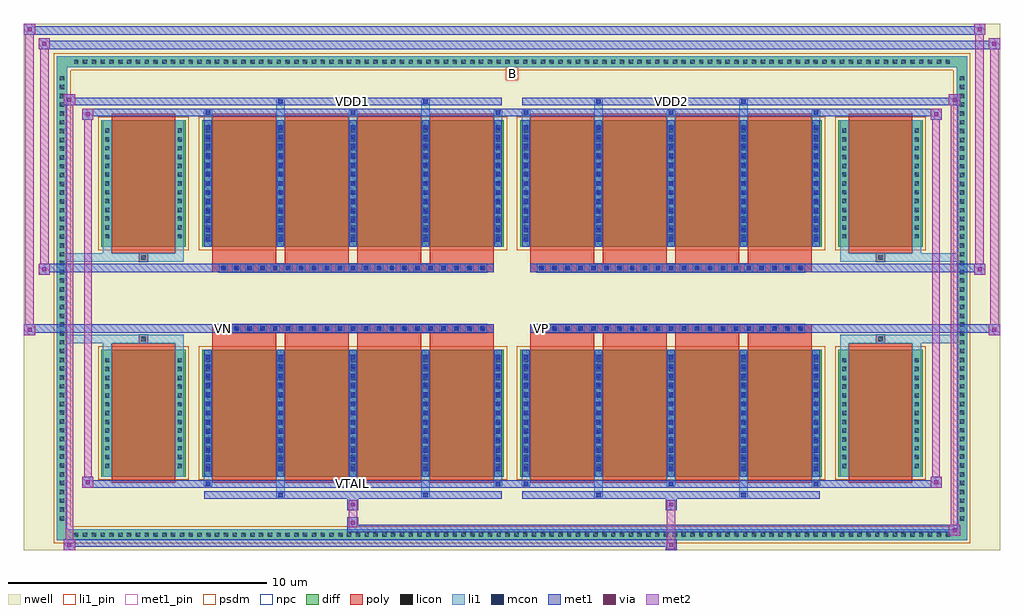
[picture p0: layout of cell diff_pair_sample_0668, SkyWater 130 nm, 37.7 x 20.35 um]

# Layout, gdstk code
import gdstk
lib = gdstk.Library(unit=1e-6, precision=5e-09)
def R(c, l, rs):  # rectangles x0, y0, x1, y1
    for r in rs: c.add(gdstk.rectangle(r[:2], r[2:], *l))
def A(c, l, x, y, w, h, nx, ny, dx, dy):  # array of equal rectangles
    R(c, l, [(x+i*dx, y+j*dy, x+i*dx+w, y+j*dy+h) for i in range(nx) for j in range(ny)])
def P(c, l, *ps):  # polygons
    for p in ps: c.add(gdstk.Polygon(p, *l))
nwell = (64, 20)
diff = (65, 20)
poly = (66, 20)
licon = (66, 44)
li1_pin = (67, 16)
li1 = (67, 20)
mcon = (67, 44)
met1_pin = (68, 16)
met1 = (68, 20)
via = (68, 44)
met2 = (69, 20)
psdm = (94, 20)
npc = (95, 20)

diff_pair_sample_0668 = lib.new_cell('diff_pair_sample_0668')
R(diff_pair_sample_0668, nwell, [(-18.85,-9.74,18.85,10.61), (-16.17,-7.93,-0.01,-0.805), (0.01,-7.93,16.17,-0.805), (-16.17,0.805,-0.01,7.93), (0.01,0.805,16.17,7.93)])
A(diff_pair_sample_0668, diff, -17.035, -9.34, 0.41, 0.41, 100, 2, 0.34, 18.27)
A(diff_pair_sample_0668, diff, -17.58, -8.705, 0.41, 0.41, 1, 51, 0, 0.34)
A(diff_pair_sample_0668, diff, 17.17, -8.705, 0.41, 0.41, 1, 51, 0, 0.34)
R(diff_pair_sample_0668, diff, [(-17.035,-9.34,17.035,-8.93), (-17.58,-8.705,-17.17,8.705), (17.17,-8.705,17.58,8.705), (-15.86,-6.885,-12.61,-1.985), (-11.97,-6.885,-0.32,-1.985), (0.32,-6.885,11.97,-1.985), (12.61,-6.885,15.86,-1.985), (-15.86,1.985,-12.61,6.885), (-11.97,1.985,-0.32,6.885), (0.32,1.985,11.97,6.885), (12.61,1.985,15.86,6.885), (-17.035,8.93,17.035,9.34)])
P(diff_pair_sample_0668, diff, [(17.58,9.34),(-17.58,9.34),(-17.58,-8.93),(-17.17,-8.93),(-17.17,8.93),(17.17,8.93),(17.17,-8.93),(-17.17,-8.93),(-17.58,-8.93),(-17.58,-9.34),(17.58,-9.34)])
A(diff_pair_sample_0668, poly, -11.58, -7.135, 2.47, 5.4, 4, 2, 2.8, 8.87)
A(diff_pair_sample_0668, poly, 0.71, -7.135, 2.47, 5.4, 4, 2, 2.8, 8.87)
A(diff_pair_sample_0668, poly, -11.58, -1.735, 2.47, 0.4, 4, 2, 2.8, 3.07)
A(diff_pair_sample_0668, poly, 0.71, -1.735, 2.47, 0.4, 4, 2, 2.8, 3.07)
A(diff_pair_sample_0668, poly, -11.31, -1.335, 0.33, 0.33, 21, 2, 0.5, 2.34)
A(diff_pair_sample_0668, poly, 0.98, -1.335, 0.33, 0.33, 21, 2, 0.5, 2.34)
R(diff_pair_sample_0668, poly, [(-15.47,-7.135,-13,-1.735), (13,-7.135,15.47,-1.735), (-14.4,-1.735,-14.07,-1.405), (-14.4,-1.735,-14.07,-1.405), (14.07,-1.735,14.4,-1.405), (14.07,-1.735,14.4,-1.405), (-11.58,-1.335,-0.71,-1.005), (0.71,-1.335,11.58,-1.005), (-11.58,1.005,-0.71,1.335), (0.71,1.005,11.58,1.335), (-14.4,1.405,-14.07,1.735), (-14.4,1.405,-14.07,1.735), (14.07,1.405,14.4,1.735), (14.07,1.405,14.4,1.735), (-15.47,1.735,-13,7.135), (13,1.735,15.47,7.135)])
A(diff_pair_sample_0668, licon, -16.915, -9.22, 0.17, 0.17, 100, 2, 0.34, 18.27)
A(diff_pair_sample_0668, licon, -17.46, -8.585, 0.17, 0.17, 1, 51, 0, 0.34)
A(diff_pair_sample_0668, licon, 17.29, -8.585, 0.17, 0.17, 1, 51, 0, 0.34)
A(diff_pair_sample_0668, licon, -15.72, -6.56, 0.17, 0.17, 1, 13, 0, 0.34)
A(diff_pair_sample_0668, licon, -12.92, -6.56, 0.17, 0.17, 1, 13, 0, 0.34)
A(diff_pair_sample_0668, licon, -11.83, -6.56, 0.17, 0.17, 5, 13, 2.8, 0.34)
A(diff_pair_sample_0668, licon, 0.46, -6.56, 0.17, 0.17, 5, 13, 2.8, 0.34)
A(diff_pair_sample_0668, licon, 12.75, -6.56, 0.17, 0.17, 1, 13, 0, 0.34)
A(diff_pair_sample_0668, licon, 15.55, -6.56, 0.17, 0.17, 1, 13, 0, 0.34)
A(diff_pair_sample_0668, licon, -11.23, -1.255, 0.17, 0.17, 21, 2, 0.5, 2.34)
A(diff_pair_sample_0668, licon, 1.06, -1.255, 0.17, 0.17, 21, 2, 0.5, 2.34)
A(diff_pair_sample_0668, licon, -15.72, 2.31, 0.17, 0.17, 1, 13, 0, 0.34)
A(diff_pair_sample_0668, licon, -12.92, 2.31, 0.17, 0.17, 1, 13, 0, 0.34)
A(diff_pair_sample_0668, licon, -11.83, 2.31, 0.17, 0.17, 5, 13, 2.8, 0.34)
A(diff_pair_sample_0668, licon, 0.46, 2.31, 0.17, 0.17, 5, 13, 2.8, 0.34)
A(diff_pair_sample_0668, licon, 12.75, 2.31, 0.17, 0.17, 1, 13, 0, 0.34)
A(diff_pair_sample_0668, licon, 15.55, 2.31, 0.17, 0.17, 1, 13, 0, 0.34)
R(diff_pair_sample_0668, licon, [(-14.32,-1.655,-14.15,-1.485), (14.15,-1.655,14.32,-1.485), (-14.32,1.485,-14.15,1.655), (14.15,1.485,14.32,1.655)])
R(diff_pair_sample_0668, li1_pin, [(-0.25,8.43,0.25,8.93)])
A(diff_pair_sample_0668, li1, -16.995, -9.3, 0.33, 0.33, 100, 2, 0.34, 18.27)
A(diff_pair_sample_0668, li1, -17.54, -8.665, 0.33, 0.33, 1, 51, 0, 0.34)
A(diff_pair_sample_0668, li1, 17.21, -8.665, 0.33, 0.33, 1, 51, 0, 0.34)
A(diff_pair_sample_0668, li1, -11.91, -7.26, 0.33, 0.375, 3, 2, 5.6, 14.145)
A(diff_pair_sample_0668, li1, -11.83, -7.26, 0.17, 0.17, 3, 2, 5.6, 14.35)
A(diff_pair_sample_0668, li1, 0.38, -7.26, 0.33, 0.375, 3, 2, 5.6, 14.145)
A(diff_pair_sample_0668, li1, 0.46, -7.26, 0.17, 0.17, 3, 2, 5.6, 14.35)
A(diff_pair_sample_0668, li1, -11.91, -6.885, 0.33, 4.9, 5, 2, 2.8, 8.87)
A(diff_pair_sample_0668, li1, 0.38, -6.885, 0.33, 4.9, 5, 2, 2.8, 8.87)
A(diff_pair_sample_0668, li1, -11.83, -6.68, 0.17, 0.17, 5, 13, 2.8, 0.36)
A(diff_pair_sample_0668, li1, -11.83, -6.68, 0.17, 4.49, 5, 2, 2.8, 8.87)
A(diff_pair_sample_0668, li1, 0.46, -6.68, 0.17, 0.17, 5, 13, 2.8, 0.36)
A(diff_pair_sample_0668, li1, 0.46, -6.68, 0.17, 4.49, 5, 2, 2.8, 8.87)
A(diff_pair_sample_0668, li1, -15.8, -6.64, 0.33, 0.33, 1, 13, 0, 0.34)
A(diff_pair_sample_0668, li1, -13, -6.64, 0.33, 0.33, 1, 13, 0, 0.34)
A(diff_pair_sample_0668, li1, -11.91, -6.64, 0.33, 0.33, 5, 13, 2.8, 0.34)
A(diff_pair_sample_0668, li1, 0.38, -6.64, 0.33, 0.33, 5, 13, 2.8, 0.34)
A(diff_pair_sample_0668, li1, 12.67, -6.64, 0.33, 0.33, 1, 13, 0, 0.34)
A(diff_pair_sample_0668, li1, 15.47, -6.64, 0.33, 0.33, 1, 13, 0, 0.34)
A(diff_pair_sample_0668, li1, -11.31, -1.335, 0.33, 0.33, 21, 2, 0.5, 2.34)
A(diff_pair_sample_0668, li1, 0.98, -1.335, 0.33, 0.33, 21, 2, 0.5, 2.34)
A(diff_pair_sample_0668, li1, -11.83, 2.19, 0.17, 0.17, 5, 13, 2.8, 0.36)
A(diff_pair_sample_0668, li1, 0.46, 2.19, 0.17, 0.17, 5, 13, 2.8, 0.36)
A(diff_pair_sample_0668, li1, -15.8, 2.23, 0.33, 0.33, 1, 13, 0, 0.34)
A(diff_pair_sample_0668, li1, -13, 2.23, 0.33, 0.33, 1, 13, 0, 0.34)
A(diff_pair_sample_0668, li1, -11.91, 2.23, 0.33, 0.33, 5, 13, 2.8, 0.34)
A(diff_pair_sample_0668, li1, 0.38, 2.23, 0.33, 0.33, 5, 13, 2.8, 0.34)
A(diff_pair_sample_0668, li1, 12.67, 2.23, 0.33, 0.33, 1, 13, 0, 0.34)
A(diff_pair_sample_0668, li1, 15.47, 2.23, 0.33, 0.33, 1, 13, 0, 0.34)
R(diff_pair_sample_0668, li1, [(-17.58,-9.34,-17.17,-8.93), (-17.58,-9.34,-17.17,-8.93), (-17.17,-9.34,17.17,-8.93), (17.17,-9.34,17.58,-8.93), (17.17,-9.34,17.58,-8.93), (-17.58,-8.93,-17.17,8.93), (17.17,-8.93,17.58,8.93), (-9.11,-7.69,-8.78,-6.885), (-9.03,-7.69,-8.86,-7.52), (-3.51,-7.69,-3.18,-6.885), (-3.43,-7.69,-3.26,-7.52), (3.18,-7.69,3.51,-6.885), (3.26,-7.69,3.43,-7.52), (8.78,-7.69,9.11,-6.885), (8.86,-7.69,9.03,-7.52), (-15.8,-6.885,-15.47,-1.985), (-13,-6.885,-12.67,-1.985), (12.67,-6.885,13,-1.985), (15.47,-6.885,15.8,-1.985), (-15.8,-1.985,-15.47,-1.405), (-13,-1.985,-12.67,-1.405), (12.67,-1.985,13,-1.405), (15.47,-1.985,15.8,-1.405), (-17.58,-1.735,-14.4,-1.405), (-15.8,-1.735,-14.4,-1.405), (-14.4,-1.735,-14.07,-1.405), (-14.07,-1.735,-12.67,-1.405), (12.67,-1.735,14.07,-1.405), (14.07,-1.735,14.4,-1.405), (14.07,-1.735,17.58,-1.405), (14.4,-1.735,15.8,-1.405), (-17.58,1.405,-14.4,1.735), (-15.8,1.405,-14.4,1.735), (-15.8,1.405,-15.47,1.985), (-14.4,1.405,-14.07,1.735), (-14.07,1.405,-12.67,1.735), (-13,1.405,-12.67,1.985), (12.67,1.405,14.07,1.735), (12.67,1.405,13,1.985), (14.07,1.405,14.4,1.735), (14.07,1.405,17.58,1.735), (14.4,1.405,15.8,1.735), (15.47,1.405,15.8,1.985), (-15.8,1.985,-15.47,6.885), (-13,1.985,-12.67,6.885), (12.67,1.985,13,6.885), (15.47,1.985,15.8,6.885), (-9.11,6.885,-8.78,7.69), (-3.51,6.885,-3.18,7.69), (3.18,6.885,3.51,7.69), (8.78,6.885,9.11,7.69), (-9.03,7.52,-8.86,7.69), (-3.43,7.52,-3.26,7.69), (3.26,7.52,3.43,7.69), (8.86,7.52,9.03,7.69), (-17.58,8.93,-17.17,9.34), (-17.58,8.93,-17.17,9.34), (-17.17,8.93,17.17,9.34), (17.17,8.93,17.58,9.34), (17.17,8.93,17.58,9.34)])
A(diff_pair_sample_0668, mcon, -11.83, -7.26, 0.17, 0.17, 3, 2, 5.6, 14.35)
A(diff_pair_sample_0668, mcon, 0.46, -7.26, 0.17, 0.17, 3, 2, 5.6, 14.35)
A(diff_pair_sample_0668, mcon, -11.83, -6.68, 0.17, 0.17, 5, 13, 2.8, 0.36)
A(diff_pair_sample_0668, mcon, 0.46, -6.68, 0.17, 0.17, 5, 13, 2.8, 0.36)
A(diff_pair_sample_0668, mcon, -11.23, -1.255, 0.17, 0.17, 21, 2, 0.5, 2.34)
A(diff_pair_sample_0668, mcon, 1.06, -1.255, 0.17, 0.17, 21, 2, 0.5, 2.34)
A(diff_pair_sample_0668, mcon, -11.83, 2.19, 0.17, 0.17, 5, 13, 2.8, 0.36)
A(diff_pair_sample_0668, mcon, 0.46, 2.19, 0.17, 0.17, 5, 13, 2.8, 0.36)
R(diff_pair_sample_0668, mcon, [(-9.03,-7.69,-8.86,-7.52), (-3.43,-7.69,-3.26,-7.52), (3.26,-7.69,3.43,-7.52), (8.86,-7.69,9.03,-7.52), (-9.03,7.52,-8.86,7.69), (-3.43,7.52,-3.26,7.69), (3.26,7.52,3.43,7.69), (8.86,7.52,9.03,7.69)])
R(diff_pair_sample_0668, met1_pin, [(-6.28,-7.3,-6.01,-7.03), (-11.28,-1.295,-11.01,-1.025), (1.01,-1.295,1.28,-1.025), (-6.28,7.48,-6.01,7.75), (6.01,7.48,6.28,7.75)])
A(diff_pair_sample_0668, met1, -11.89, -7.32, 0.29, 0.29, 3, 2, 5.6, 14.35)
A(diff_pair_sample_0668, met1, 0.4, -7.32, 0.29, 0.29, 3, 2, 5.6, 14.35)
A(diff_pair_sample_0668, met1, -11.89, -6.885, 0.29, 4.9, 5, 2, 2.8, 8.87)
A(diff_pair_sample_0668, met1, 0.4, -6.885, 0.29, 4.9, 5, 2, 2.8, 8.87)
A(diff_pair_sample_0668, met1, -11.89, -6.74, 0.29, 0.29, 5, 13, 2.8, 0.36)
A(diff_pair_sample_0668, met1, 0.4, -6.74, 0.29, 0.29, 5, 13, 2.8, 0.36)
A(diff_pair_sample_0668, met1, -11.29, -1.315, 0.29, 0.29, 21, 2, 0.5, 2.34)
A(diff_pair_sample_0668, met1, 1, -1.315, 0.29, 0.29, 21, 2, 0.5, 2.34)
A(diff_pair_sample_0668, met1, -11.89, 2.13, 0.29, 0.29, 5, 13, 2.8, 0.36)
A(diff_pair_sample_0668, met1, 0.4, 2.13, 0.29, 0.29, 5, 13, 2.8, 0.36)
R(diff_pair_sample_0668, met1, [(-17.31,-9.74,-16.88,-9.31), (5.93,-9.74,6.36,-9.31), (-17.31,-9.6,6.36,-9.31), (16.88,-9.17,17.31,-8.74), (-6.36,-9.03,17.31,-8.74), (-6.36,-8.89,-5.93,-8.46), (-6.36,-8.18,-5.93,-7.75), (5.93,-8.18,6.36,-7.75), (-11.89,-7.75,-0.4,-7.46), (-9.09,-7.75,-8.8,-7.46), (-3.49,-7.75,-3.2,-7.46), (0.4,-7.75,11.89,-7.46), (3.2,-7.75,3.49,-7.46), (8.8,-7.75,9.09,-7.46), (-16.6,-7.32,-16.17,-6.89), (-16.6,-7.32,-11.89,-7.03), (-11.89,-7.32,-0.4,-7.03), (-0.4,-7.32,0.4,-7.03), (0.4,-7.32,11.89,-7.03), (11.89,-7.32,16.6,-7.03), (16.17,-7.32,16.6,-6.89), (-18.85,-1.435,-18.42,-1.005), (18.42,-1.435,18.85,-1.005), (-18.85,-1.335,-0.71,-1.005), (-11.58,-1.335,-0.71,-1.005), (0.71,-1.335,11.58,-1.005), (0.71,-1.335,18.85,-1.005), (-18.28,0.905,-17.85,1.335), (17.85,0.905,18.28,1.335), (-18.28,1.005,-11.58,1.335), (-11.58,1.005,-0.71,1.335), (0.71,1.005,11.58,1.335), (11.58,1.005,18.28,1.335), (-16.6,6.89,-16.17,7.32), (16.17,6.89,16.6,7.32), (-16.6,7.03,-11.89,7.32), (-11.89,7.03,-0.4,7.32), (-0.4,7.03,0.4,7.32), (0.4,7.03,11.89,7.32), (11.89,7.03,16.6,7.32), (-17.31,7.46,-16.88,7.89), (-17.31,7.46,-11.89,7.75), (-11.89,7.46,-0.4,7.75), (-9.09,7.46,-8.8,7.75), (-3.49,7.46,-3.2,7.75), (0.4,7.46,11.89,7.75), (3.2,7.46,3.49,7.75), (8.8,7.46,9.09,7.75), (11.89,7.46,17.31,7.75), (16.88,7.46,17.31,7.89), (-18.28,9.61,-17.85,10.04), (-18.28,9.61,-16.17,9.94), (-16.17,9.61,16.17,9.94), (16.17,9.61,18.85,9.94), (18.42,9.61,18.85,10.04), (-18.85,10.18,-18.42,10.61), (-18.85,10.18,-16.17,10.51), (-16.17,10.18,16.17,10.51), (16.17,10.18,18.28,10.51), (17.85,10.18,18.28,10.61)])
R(diff_pair_sample_0668, via, [(-17.17,-9.6,-17.02,-9.45), (6.07,-9.6,6.22,-9.45), (17.02,-9.03,17.17,-8.88), (-6.22,-8.75,-6.07,-8.6), (-6.22,-8.04,-6.07,-7.89), (6.07,-8.04,6.22,-7.89), (-16.46,-7.18,-16.31,-7.03), (16.31,-7.18,16.46,-7.03), (-18.71,-1.295,-18.56,-1.145), (18.56,-1.295,18.71,-1.145), (-18.14,1.045,-17.99,1.195), (17.99,1.045,18.14,1.195), (-16.46,7.03,-16.31,7.18), (16.31,7.03,16.46,7.18), (-17.17,7.6,-17.02,7.75), (17.02,7.6,17.17,7.75), (-18.14,9.75,-17.99,9.9), (18.56,9.75,18.71,9.9), (-18.71,10.32,-18.56,10.47), (17.99,10.32,18.14,10.47)])
R(diff_pair_sample_0668, met2, [(-17.31,-9.74,-16.88,-9.31), (-17.24,-9.74,-16.95,7.89), (-16.95,-9.74,-16.88,-9.31), (-17.26,-9.69,-16.93,-9.36), (5.98,-9.69,6.31,-9.36), (5.98,-9.36,6.31,-8.13), (16.88,-9.17,17.31,-8.74), (16.95,-9.17,17.24,7.89), (17.24,-9.17,17.31,-8.74), (16.93,-9.12,17.26,-8.79), (-6.31,-8.84,-5.98,-8.51), (-6.31,-8.51,-5.98,-8.13), (-6.31,-8.13,-5.98,-7.8), (5.98,-8.13,6.31,-7.8), (-16.6,-7.32,-16.17,-6.89), (-16.53,-7.32,-16.24,7.32), (-16.24,-7.32,-16.17,-6.89), (16.17,-7.32,16.6,-6.89), (16.24,-7.32,16.53,7.32), (16.53,-7.32,16.6,-6.89), (-16.55,-7.27,-16.22,-6.94), (16.22,-7.27,16.55,-6.94), (-18.85,-1.435,-18.42,-1.005), (-18.8,-1.435,-18.47,10.61), (-18.47,-1.435,-18.42,-1.005), (18.42,-1.435,18.85,-1.005), (18.47,-1.435,18.8,10.04), (18.8,-1.435,18.85,-1.005), (-18.8,-1.385,-18.47,-1.055), (18.47,-1.385,18.8,-1.055), (-18.28,0.905,-17.85,1.335), (-18.23,0.905,-17.9,10.04), (-17.9,0.905,-17.85,1.335), (17.85,0.905,18.28,1.335), (17.9,0.905,18.23,10.61), (18.23,0.905,18.28,1.335), (-18.23,0.955,-17.9,1.285), (17.9,0.955,18.23,1.285), (-16.6,6.89,-16.17,7.32), (-16.24,6.89,-16.17,7.32), (16.17,6.89,16.6,7.32), (16.53,6.89,16.6,7.32), (-16.55,6.94,-16.22,7.27), (16.22,6.94,16.55,7.27), (-17.31,7.46,-16.88,7.89), (-16.95,7.46,-16.88,7.89), (16.88,7.46,17.31,7.89), (17.24,7.46,17.31,7.89), (-17.26,7.51,-16.93,7.84), (16.93,7.51,17.26,7.84), (-18.28,9.61,-17.85,10.04), (-17.9,9.61,-17.85,10.04), (18.42,9.61,18.85,10.04), (18.8,9.61,18.85,10.04), (-18.23,9.66,-17.9,9.99), (18.47,9.66,18.8,9.99), (-18.85,10.18,-18.42,10.61), (-18.47,10.18,-18.42,10.61), (17.85,10.18,18.28,10.61), (18.23,10.18,18.28,10.61), (-18.8,10.23,-18.47,10.56), (17.9,10.23,18.23,10.56)])
R(diff_pair_sample_0668, psdm, [(-15.99,-7.015,-12.48,-1.855), (-12.1,-7.015,-0.19,-1.855), (0.19,-7.015,12.1,-1.855), (12.48,-7.015,15.99,-1.855), (-15.99,1.855,-12.48,7.015), (-12.1,1.855,-0.19,7.015), (0.19,1.855,12.1,7.015), (12.48,1.855,15.99,7.015)])
P(diff_pair_sample_0668, psdm, [(17.71,9.47),(-17.71,9.47),(-17.71,-8.8),(-17.04,-8.8),(-17.04,8.8),(17.04,8.8),(17.04,-8.8),(-17.04,-8.8),(-17.71,-8.8),(-17.71,-9.47),(17.71,-9.47)])
A(diff_pair_sample_0668, npc, -11.33, -1.355, 0.37, 0.37, 21, 2, 0.5, 2.34)
A(diff_pair_sample_0668, npc, 0.96, -1.355, 0.37, 0.37, 21, 2, 0.5, 2.34)
R(diff_pair_sample_0668, npc, [(-14.42,-1.755,-14.05,-1.385), (14.05,-1.755,14.42,-1.385), (-11.33,-1.355,-10.46,-0.985), (-11.33,-1.355,-10.46,-0.985), (-10.83,-1.355,-9.96,-0.985), (-10.83,-1.355,-9.96,-0.985), (-10.33,-1.355,-9.46,-0.985), (-10.33,-1.355,-9.46,-0.985), (-9.83,-1.355,-8.96,-0.985), (-9.83,-1.355,-8.96,-0.985), (-9.33,-1.355,-8.46,-0.985), (-9.33,-1.355,-8.46,-0.985), (-8.83,-1.355,-7.96,-0.985), (-8.83,-1.355,-7.96,-0.985), (-8.33,-1.355,-7.46,-0.985), (-8.33,-1.355,-7.46,-0.985), (-7.83,-1.355,-6.96,-0.985), (-7.83,-1.355,-6.96,-0.985), (-7.33,-1.355,-6.46,-0.985), (-7.33,-1.355,-6.46,-0.985), (-6.83,-1.355,-5.96,-0.985), (-6.83,-1.355,-5.96,-0.985), (-6.33,-1.355,-5.46,-0.985), (-6.33,-1.355,-5.46,-0.985), (-5.83,-1.355,-4.96,-0.985), (-5.83,-1.355,-4.96,-0.985), (-5.33,-1.355,-4.46,-0.985), (-5.33,-1.355,-4.46,-0.985), (-4.83,-1.355,-3.96,-0.985), (-4.83,-1.355,-3.96,-0.985), (-4.33,-1.355,-3.46,-0.985), (-4.33,-1.355,-3.46,-0.985), (-3.83,-1.355,-2.96,-0.985), (-3.83,-1.355,-2.96,-0.985), (-3.33,-1.355,-2.46,-0.985), (-3.33,-1.355,-2.46,-0.985), (-2.83,-1.355,-1.96,-0.985), (-2.83,-1.355,-1.96,-0.985), (-2.33,-1.355,-1.46,-0.985), (-2.33,-1.355,-1.46,-0.985), (-1.83,-1.355,-0.96,-0.985), (-1.83,-1.355,-0.96,-0.985), (0.96,-1.355,1.83,-0.985), (0.96,-1.355,1.83,-0.985), (1.46,-1.355,2.33,-0.985), (1.46,-1.355,2.33,-0.985), (1.96,-1.355,2.83,-0.985), (1.96,-1.355,2.83,-0.985), (2.46,-1.355,3.33,-0.985), (2.46,-1.355,3.33,-0.985), (2.96,-1.355,3.83,-0.985), (2.96,-1.355,3.83,-0.985), (3.46,-1.355,4.33,-0.985), (3.46,-1.355,4.33,-0.985), (3.96,-1.355,4.83,-0.985), (3.96,-1.355,4.83,-0.985), (4.46,-1.355,5.33,-0.985), (4.46,-1.355,5.33,-0.985), (4.96,-1.355,5.83,-0.985), (4.96,-1.355,5.83,-0.985), (5.46,-1.355,6.33,-0.985), (5.46,-1.355,6.33,-0.985), (5.96,-1.355,6.83,-0.985), (5.96,-1.355,6.83,-0.985), (6.46,-1.355,7.33,-0.985), (6.46,-1.355,7.33,-0.985), (6.96,-1.355,7.83,-0.985), (6.96,-1.355,7.83,-0.985), (7.46,-1.355,8.33,-0.985), (7.46,-1.355,8.33,-0.985), (7.96,-1.355,8.83,-0.985), (7.96,-1.355,8.83,-0.985), (8.46,-1.355,9.33,-0.985), (8.46,-1.355,9.33,-0.985), (8.96,-1.355,9.83,-0.985), (8.96,-1.355,9.83,-0.985), (9.46,-1.355,10.33,-0.985), (9.46,-1.355,10.33,-0.985), (9.96,-1.355,10.83,-0.985), (9.96,-1.355,10.83,-0.985), (10.46,-1.355,11.33,-0.985), (10.46,-1.355,11.33,-0.985), (-11.33,0.985,-10.46,1.355), (-11.33,0.985,-10.46,1.355), (-10.83,0.985,-9.96,1.355), (-10.83,0.985,-9.96,1.355), (-10.33,0.985,-9.46,1.355), (-10.33,0.985,-9.46,1.355), (-9.83,0.985,-8.96,1.355), (-9.83,0.985,-8.96,1.355), (-9.33,0.985,-8.46,1.355), (-9.33,0.985,-8.46,1.355), (-8.83,0.985,-7.96,1.355), (-8.83,0.985,-7.96,1.355), (-8.33,0.985,-7.46,1.355), (-8.33,0.985,-7.46,1.355), (-7.83,0.985,-6.96,1.355), (-7.83,0.985,-6.96,1.355), (-7.33,0.985,-6.46,1.355), (-7.33,0.985,-6.46,1.355), (-6.83,0.985,-5.96,1.355), (-6.83,0.985,-5.96,1.355), (-6.33,0.985,-5.46,1.355), (-6.33,0.985,-5.46,1.355), (-5.83,0.985,-4.96,1.355), (-5.83,0.985,-4.96,1.355), (-5.33,0.985,-4.46,1.355), (-5.33,0.985,-4.46,1.355), (-4.83,0.985,-3.96,1.355), (-4.83,0.985,-3.96,1.355), (-4.33,0.985,-3.46,1.355), (-4.33,0.985,-3.46,1.355), (-3.83,0.985,-2.96,1.355), (-3.83,0.985,-2.96,1.355), (-3.33,0.985,-2.46,1.355), (-3.33,0.985,-2.46,1.355), (-2.83,0.985,-1.96,1.355), (-2.83,0.985,-1.96,1.355), (-2.33,0.985,-1.46,1.355), (-2.33,0.985,-1.46,1.355), (-1.83,0.985,-0.96,1.355), (-1.83,0.985,-0.96,1.355), (0.96,0.985,1.83,1.355), (0.96,0.985,1.83,1.355), (1.46,0.985,2.33,1.355), (1.46,0.985,2.33,1.355), (1.96,0.985,2.83,1.355), (1.96,0.985,2.83,1.355), (2.46,0.985,3.33,1.355), (2.46,0.985,3.33,1.355), (2.96,0.985,3.83,1.355), (2.96,0.985,3.83,1.355), (3.46,0.985,4.33,1.355), (3.46,0.985,4.33,1.355), (3.96,0.985,4.83,1.355), (3.96,0.985,4.83,1.355), (4.46,0.985,5.33,1.355), (4.46,0.985,5.33,1.355), (4.96,0.985,5.83,1.355), (4.96,0.985,5.83,1.355), (5.46,0.985,6.33,1.355), (5.46,0.985,6.33,1.355), (5.96,0.985,6.83,1.355), (5.96,0.985,6.83,1.355), (6.46,0.985,7.33,1.355), (6.46,0.985,7.33,1.355), (6.96,0.985,7.83,1.355), (6.96,0.985,7.83,1.355), (7.46,0.985,8.33,1.355), (7.46,0.985,8.33,1.355), (7.96,0.985,8.83,1.355), (7.96,0.985,8.83,1.355), (8.46,0.985,9.33,1.355), (8.46,0.985,9.33,1.355), (8.96,0.985,9.83,1.355), (8.96,0.985,9.83,1.355), (9.46,0.985,10.33,1.355), (9.46,0.985,10.33,1.355), (9.96,0.985,10.83,1.355), (9.96,0.985,10.83,1.355), (10.46,0.985,11.33,1.355), (10.46,0.985,11.33,1.355), (-14.42,1.385,-14.05,1.755), (14.05,1.385,14.42,1.755)])
diff_pair_sample_0668.add(gdstk.Label('VTAIL', (-6.145,-7.165), layer=68, texttype=5))
diff_pair_sample_0668.add(gdstk.Label('VN', (-11.145,-1.16), layer=68, texttype=5))
diff_pair_sample_0668.add(gdstk.Label('VP', (1.145,-1.16), layer=68, texttype=5))
diff_pair_sample_0668.add(gdstk.Label('B', (0,8.68), layer=67, texttype=5))
diff_pair_sample_0668.add(gdstk.Label('VDD2', (6.145,7.615), layer=68, texttype=5))
diff_pair_sample_0668.add(gdstk.Label('VDD1', (-6.145,7.615), layer=68, texttype=5))

lib.write_gds('diff_pair_sample_0668.gds')
